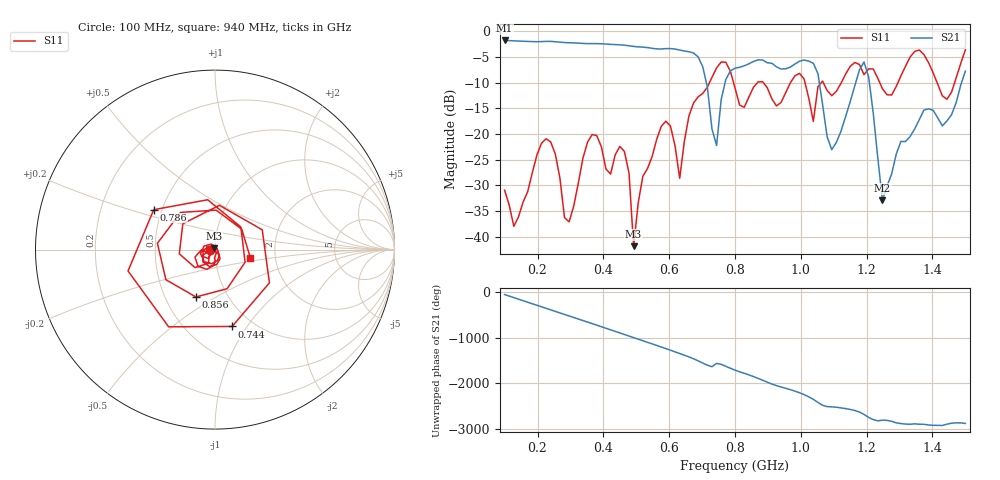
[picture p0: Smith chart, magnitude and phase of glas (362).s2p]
! NanoVNA-App
! Date: 2025-09-25 15:58:17
! Start: 100MHz Stop: 1,5GHz Points: 101
! S-Parameter data: F S11 S21 S12 S22
# Hz S RI R 50
!  Frequency  S11_Real  S11_Imag  S21_Real  S21_Imag  S12_Real  S12_Imag  S22_Real  S22_Imag
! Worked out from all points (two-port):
!   101 points, 100 MHz to 1.5 GHz, reference 50 ohm
!   highest |S21| = -1.80 dB at 100 MHz (marker M1); lowest = -32.9 dB at 1.248 GHz (marker M2)
!   |S21| within 3 dB of the highest: start of sweep to 684.4 MHz
!   lowest |S11| = -41.8 dB at 492 MHz (marker M3), VSWR 1.02, Z = 49.5 + j0.63 ohm
!   |S11| at or under -10 dB: start of sweep to 722.5 MHz; 795.5 MHz to 868.3 MHz (72.78 MHz wide, 8.75 % of centre); 886.1 MHz to 968.6 MHz (82.44 MHz wide, 8.89 % of centre) (the widest 3 of 7)
!   S12 and S22 are empty: the file has one direction only
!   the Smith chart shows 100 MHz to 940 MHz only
!   S11 on the Smith chart (normalised r, x): 100 MHz: 0.95, -0.01; 744 MHz: 0.81, -0.85; 786 MHz: 0.45, +0.24; 856 MHz: 0.71, -0.41; 940 MHz: 1.48, -0.15
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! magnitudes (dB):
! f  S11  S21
! 100 MHz  -30.9  -1.8
! 128 MHz  -38.0  -1.9
! 226 MHz  -20.9  -2.0
! 296 MHz  -37.1  -2.2
! 338 MHz  -24.7  -2.4
! 464 MHz  -23.4  -2.7
! 492 MHz  -41.8  -3.0
! 576 MHz  -18.5  -3.5
! 632 MHz  -28.6  -3.7
! 702 MHz  -12.1  -6.9
! 744 MHz  -7.2  -22.2
! 786 MHz  -7.8  -7.7
! 800 MHz  -11.0  -7.2
! 856 MHz  -10.9  -5.9
! 940 MHz  -13.9  -7.4
! 996 MHz  -8.2  -5.8
! 1.038 GHz  -17.5  -6.2
! 1.094 GHz  -12.5  -23.1
! 1.192 GHz  -8.5  -6.0
! 1.248 GHz  -11.2  -32.9
! 1.276 GHz  -12.4  -27.8
! 1.5 GHz  -3.6  -7.8
